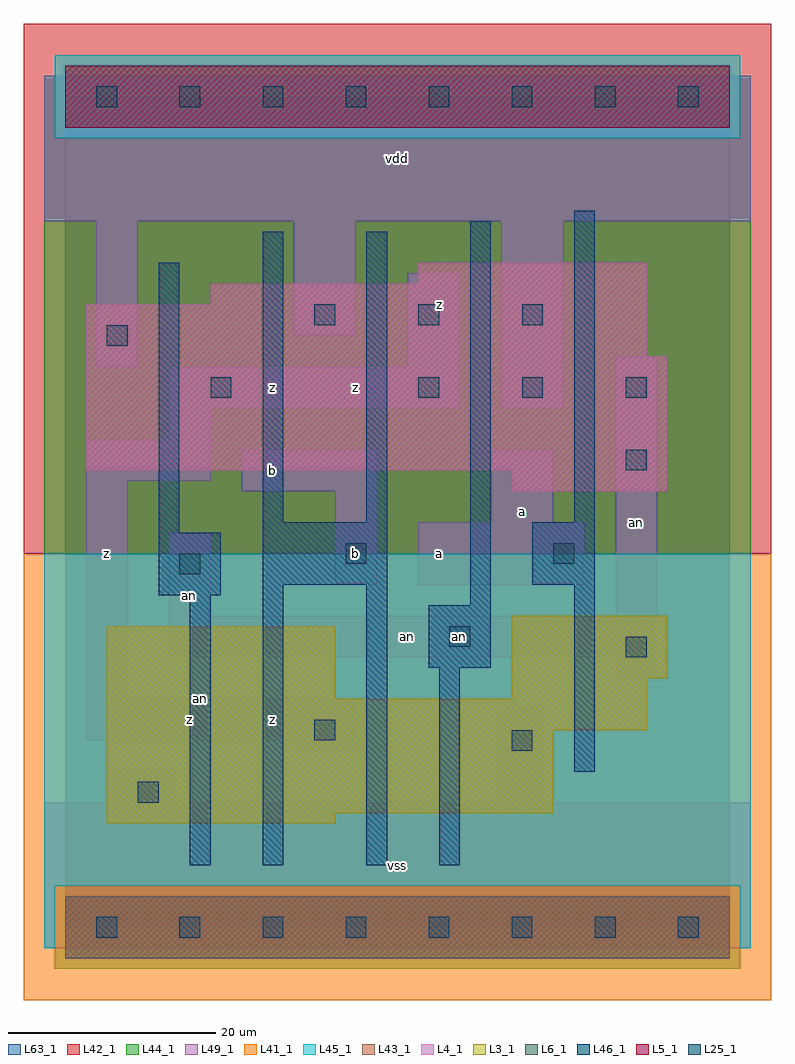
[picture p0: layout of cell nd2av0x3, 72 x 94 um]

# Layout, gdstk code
import gdstk
lib = gdstk.Library(unit=1e-6, precision=1e-09)
def R(c, l, rs):  # rectangles x0, y0, x1, y1
    for r in rs: c.add(gdstk.rectangle(r[:2], r[2:], *l))
def A(c, l, x, y, w, h, nx, ny, dx, dy):  # array of equal rectangles
    R(c, l, [(x+i*dx, y+j*dy, x+i*dx+w, y+j*dy+h) for i in range(nx) for j in range(ny)])
L3_1 = (3, 1)
L4_1 = (4, 1)
L5_1 = (5, 1)
L6_1 = (6, 1)
L25_1 = (25, 1)
L41_1 = (41, 1)
L42_1 = (42, 1)
L43_1 = (43, 1)
L44_1 = (44, 1)
L45_1 = (45, 1)
L46_1 = (46, 1)
L49_1 = (49, 1)
L63_1 = (63, 1)

nd2av0x3 = lib.new_cell('nd2av0x3')
R(nd2av0x3, L3_1, [(4,10,26,11), (4,11,47,19), (4,19,56,22), (4,22,26,29), (43,22,56,24), (43,24,58,30)])
R(nd2av0x3, L4_1, [(43,42,58,44), (2,44,58,55), (2,55,56,60), (14,60,56,62), (34,62,56,64)])
R(nd2av0x3, L5_1, [(0,77,64,83)])
R(nd2av0x3, L6_1, [(0,-3,64,3), (0,-3,64,3)])
A(nd2av0x3, L25_1, 3, -1, 2, 2, 8, 2, 8, 80)
A(nd2av0x3, L25_1, 34, 51, 2, 2, 3, 1, 10, 0)
A(nd2av0x3, L25_1, 24, 58, 2, 2, 3, 1, 10, 0)
R(nd2av0x3, L25_1, [(7,12,9,14), (43,17,45,19), (24,18,26,20), (54,26,56,28), (37,27,39,29), (11,34,13,36), (27,35,29,37), (47,35,49,37), (54,44,56,46), (14,51,16,53), (4,56,6,58)])
R(nd2av0x3, L41_1, [(-4,-7,68,36)])
R(nd2av0x3, L42_1, [(-4,36,68,87)])
R(nd2av0x3, L43_1, [(0,-3,64,3), (4,10,26,11), (4,11,47,19), (4,19,56,22), (4,22,26,29), (43,22,56,24), (43,24,58,30), (43,42,58,44), (2,44,58,55), (2,55,56,60), (14,60,56,62), (34,62,56,64), (0,77,64,83)])
R(nd2av0x3, L44_1, [(-1,-4,65,4), (-2,36,66,76), (-2,76,-1,82), (65,76,66,82)])
R(nd2av0x3, L45_1, [(-2,-2,-1,4), (65,-2,66,4), (-2,4,66,36), (-1,76,65,84)])
R(nd2av0x3, L46_1, [(12,6,14,32), (19,6,21,33), (29,6,31,33), (36,6,38,25), (49,15,51,33), (35,25,41,31), (39,31,41,68), (9,32,15,38), (19,33,31,39), (45,33,51,39), (9,38,11,64), (19,39,21,67), (29,39,31,67), (49,39,51,69)])
R(nd2av0x3, L49_1, [(-2,-2,66,12), (5,12,11,15), (42,12,46,21), (22,17,28,18), (2,18,28,22), (2,22,6,43), (53,24,57,26), (10,26,57,30), (10,30,14,38), (53,30,57,55), (26,33,30,42), (34,33,50,39), (41,39,47,46), (17,42,30,46), (2,43,14,47), (10,47,14,50), (10,50,38,54), (42,50,48,68), (3,54,7,68), (33,54,38,63), (22,57,28,68), (-2,68,66,82)])
R(nd2av0x3, L63_1, [(0,0,64,80)])
nd2av0x3.add(gdstk.Label('an', (13,22), layer=46, texttype=1))
nd2av0x3.add(gdstk.Label('an', (38,28), layer=49, texttype=1))
nd2av0x3.add(gdstk.Label('z', (4,36), layer=49, texttype=1))
nd2av0x3.add(gdstk.Label('z', (12,20), layer=49, texttype=1))
nd2av0x3.add(gdstk.Label('z', (20,20), layer=49, texttype=1))
nd2av0x3.add(gdstk.Label('an', (12,32), layer=49, texttype=1))
nd2av0x3.add(gdstk.Label('b', (20,44), layer=49, texttype=1))
nd2av0x3.add(gdstk.Label('z', (20,52), layer=49, texttype=1))
nd2av0x3.add(gdstk.Label('vss', (32,6), layer=49, texttype=1))
nd2av0x3.add(gdstk.Label('b', (28,36), layer=49, texttype=1))
nd2av0x3.add(gdstk.Label('a', (36,36), layer=49, texttype=1))
nd2av0x3.add(gdstk.Label('z', (28,52), layer=49, texttype=1))
nd2av0x3.add(gdstk.Label('z', (36,60), layer=49, texttype=1))
nd2av0x3.add(gdstk.Label('vdd', (32,74), layer=49, texttype=1))
nd2av0x3.add(gdstk.Label('a', (44,40), layer=49, texttype=1))
nd2av0x3.add(gdstk.Label('an', (33,28), layer=49, texttype=1))
nd2av0x3.add(gdstk.Label('an', (55,39), layer=49, texttype=1))

lib.write_gds('nd2av0x3.gds')
